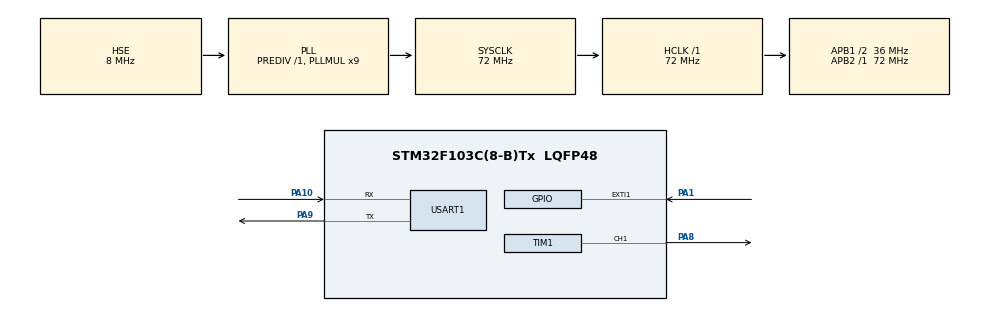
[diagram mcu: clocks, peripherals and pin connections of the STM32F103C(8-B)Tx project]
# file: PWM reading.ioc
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Mcu.Family=STM32F1
Mcu.Name=STM32F103C(8-B)Tx
Mcu.Package=LQFP48
NVIC.EXTI1_IRQn=true\:0\:0\:false\:false\:true\:true\:true\:true
NVIC.PriorityGroup=NVIC_PRIORITYGROUP_4
NVIC.TIM2_IRQn=true\:0\:0\:false\:false\:true\:true\:true\:true
PA1.GPIO_ModeDefaultEXTI=GPIO_MODE_IT_RISING_FALLING
PA1.GPIO_PuPd=GPIO_NOPULL
PA1.Signal=GPXTI1
PA10.Mode=Asynchronous
PA10.Signal=USART1_RX
PA8.Signal=S_TIM1_CH1
PA9.Mode=Asynchronous
PA9.Signal=USART1_TX
PD0-OSC_IN.Mode=HSE-External-Oscillator
PD0-OSC_IN.Signal=RCC_OSC_IN
PD1-OSC_OUT.Mode=HSE-External-Oscillator
PD1-OSC_OUT.Signal=RCC_OSC_OUT
ProjectManager.HeapSize=0x200
ProjectManager.StackSize=0x400
ProjectManager.TargetToolchain=STM32CubeIDE
RCC.AHBFreq_Value=72000000
RCC.APB1CLKDivider=RCC_HCLK_DIV2
RCC.APB1Freq_Value=36000000
RCC.APB1TimFreq_Value=72000000
RCC.APB2Freq_Value=72000000
RCC.APB2TimFreq_Value=72000000
RCC.HCLKFreq_Value=72000000
RCC.PLLMUL=RCC_PLL_MUL9
RCC.PLLSourceVirtual=RCC_PLLSOURCE_HSE
RCC.SYSCLKFreq_VALUE=72000000
RCC.SYSCLKSource=RCC_SYSCLKSOURCE_PLLCLK
RCC.USBFreq_Value=72000000
SH.S_TIM1_CH1.0=TIM1_CH1,PWM Generation1 CH1
TIM1.Channel-PWM\ Generation1\ CH1=TIM_CHANNEL_1
TIM1.Period=19999
TIM1.Prescaler=71
TIM2.Prescaler=71
USART1.VirtualMode=VM_ASYNC
VP_SYS_VS_ND.Mode=No_Debug
VP_TIM1_VS_ClockSourceINT.Mode=Internal
VP_TIM2_VS_ClockSourceINT.Mode=Internal
board=custom

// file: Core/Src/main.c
/* USER CODE BEGIN Header */
/**
  ******************************************************************************
  * @file           : main.c
  * @brief          : Main program body
  ******************************************************************************
  * @attention
  *
  * Copyright (c) 2025 STMicroelectronics.
  * All rights reserved.
  *
  * This software is licensed under terms that can be found in the LICENSE file
  * in the root directory of this software component.
  * If no LICENSE file comes with this software, it is provided AS-IS.
  *
  ******************************************************************************
  */
/* USER CODE END Header */
#include "main.h"
#include <stdio.h>

TIM_HandleTypeDef htim1;
TIM_HandleTypeDef htim2;

UART_HandleTypeDef huart1;

void SystemClock_Config(void);
static void MX_GPIO_Init(void);
static void MX_TIM1_Init(void);
static void MX_TIM2_Init(void);
static void MX_USART1_UART_Init(void);

int main(void)
{

  /* MCU Configuration--------------------------------------------------------*/

  /* Reset of all peripherals, Initializes the Flash interface and the Systick. */
  HAL_Init();

  /* Configure the system clock */
  SystemClock_Config();

  /* Initialize all configured peripherals */
  MX_GPIO_Init();
  MX_TIM1_Init();
  MX_TIM2_Init();
  MX_USART1_UART_Init();
  /* USER CODE BEGIN 2 */
  __HAL_TIM_SET_COMPARE(&htim1, TIM_CHANNEL_1, 2300);
  HAL_TIM_PWM_Start(&htim1, TIM_CHANNEL_1);
  HAL_TIM_IC_Start_IT(&htim2, TIM_CHANNEL_1);
  HAL_TIM_IC_Start_IT(&htim2, TIM_CHANNEL_2);
  /* USER CODE END 2 */

  /* Infinite loop */
  while (1)
  {

	  	}
  }

void SystemClock_Config(void)
{
  RCC_OscInitTypeDef RCC_OscInitStruct = {0};
  RCC_ClkInitTypeDef RCC_ClkInitStruct = {0};

  /** Initializes the RCC Oscillators according to the specified parameters
  * in the RCC_OscInitTypeDef structure.
  */
  RCC_OscInitStruct.OscillatorType = RCC_OSCILLATORTYPE_HSE;
  RCC_OscInitStruct.HSEState = RCC_HSE_ON;
  RCC_OscInitStruct.HSEPredivValue = RCC_HSE_PREDIV_DIV1;
  RCC_OscInitStruct.HSIState = RCC_HSI_ON;
  RCC_OscInitStruct.PLL.PLLState = RCC_PLL_ON;
  RCC_OscInitStruct.PLL.PLLSource = RCC_PLLSOURCE_HSE;
  RCC_OscInitStruct.PLL.PLLMUL = RCC_PLL_MUL9;
  if (HAL_RCC_OscConfig(&RCC_OscInitStruct) != HAL_OK)
  {
    Error_Handler();
  }

  /** Initializes the CPU, AHB and APB buses clocks
  */
  RCC_ClkInitStruct.ClockType = RCC_CLOCKTYPE_HCLK|RCC_CLOCKTYPE_SYSCLK
                              |RCC_CLOCKTYPE_PCLK1|RCC_CLOCKTYPE_PCLK2;
  RCC_ClkInitStruct.SYSCLKSource = RCC_SYSCLKSOURCE_PLLCLK;
  RCC_ClkInitStruct.AHBCLKDivider = RCC_SYSCLK_DIV1;
  RCC_ClkInitStruct.APB1CLKDivider = RCC_HCLK_DIV2;
  RCC_ClkInitStruct.APB2CLKDivider = RCC_HCLK_DIV1;

  if (HAL_RCC_ClockConfig(&RCC_ClkInitStruct, FLASH_LATENCY_2) != HAL_OK)
  {
    Error_Handler();
  }
}

static void MX_TIM1_Init(void)
{

  TIM_ClockConfigTypeDef sClockSourceConfig = {0};
  TIM_MasterConfigTypeDef sMasterConfig = {0};
  TIM_OC_InitTypeDef sConfigOC = {0};
  TIM_BreakDeadTimeConfigTypeDef sBreakDeadTimeConfig = {0};

  htim1.Instance = TIM1;
  htim1.Init.Prescaler = 71;
  htim1.Init.CounterMode = TIM_COUNTERMODE_UP;
  htim1.Init.Period = 19999;
  htim1.Init.ClockDivision = TIM_CLOCKDIVISION_DIV1;
  htim1.Init.RepetitionCounter = 0;
  htim1.Init.AutoReloadPreload = TIM_AUTORELOAD_PRELOAD_DISABLE;
  if (HAL_TIM_Base_Init(&htim1) != HAL_OK)
  {
    Error_Handler();
  }
  sClockSourceConfig.ClockSource = TIM_CLOCKSOURCE_INTERNAL;
  if (HAL_TIM_ConfigClockSource(&htim1, &sClockSourceConfig) != HAL_OK)
  {
    Error_Handler();
  }
  if (HAL_TIM_PWM_Init(&htim1) != HAL_OK)
  {
    Error_Handler();
  }
  sMasterConfig.MasterOutputTrigger = TIM_TRGO_RESET;
  sMasterConfig.MasterSlaveMode = TIM_MASTERSLAVEMODE_DISABLE;
  if (HAL_TIMEx_MasterConfigSynchronization(&htim1, &sMasterConfig) != HAL_OK)
  {
    Error_Handler();
  }
  sConfigOC.OCMode = TIM_OCMODE_PWM1;
  sConfigOC.Pulse = 0;
  sConfigOC.OCPolarity = TIM_OCPOLARITY_HIGH;
  sConfigOC.OCNPolarity = TIM_OCNPOLARITY_HIGH;
  sConfigOC.OCFastMode = TIM_OCFAST_DISABLE;
  sConfigOC.OCIdleState = TIM_OCIDLESTATE_RESET;
  sConfigOC.OCNIdleState = TIM_OCNIDLESTATE_RESET;
  if (HAL_TIM_PWM_ConfigChannel(&htim1, &sConfigOC, TIM_CHANNEL_1) != HAL_OK)
  {
    Error_Handler();
  }
  sBreakDeadTimeConfig.OffStateRunMode = TIM_OSSR_DISABLE;
  sBreakDeadTimeConfig.OffStateIDLEMode = TIM_OSSI_DISABLE;
  sBreakDeadTimeConfig.LockLevel = TIM_LOCKLEVEL_OFF;
  sBreakDeadTimeConfig.DeadTime = 0;
  sBreakDeadTimeConfig.BreakState = TIM_BREAK_DISABLE;
  sBreakDeadTimeConfig.BreakPolarity = TIM_BREAKPOLARITY_HIGH;
  sBreakDeadTimeConfig.AutomaticOutput = TIM_AUTOMATICOUTPUT_DISABLE;
  if (HAL_TIMEx_ConfigBreakDeadTime(&htim1, &sBreakDeadTimeConfig) != HAL_OK)
  {
    Error_Handler();
  }
  HAL_TIM_MspPostInit(&htim1);

}

static void MX_TIM2_Init(void)
{

  TIM_ClockConfigTypeDef sClockSourceConfig = {0};
  TIM_MasterConfigTypeDef sMasterConfig = {0};

  htim2.Instance = TIM2;
  htim2.Init.Prescaler = 71;
  htim2.Init.CounterMode = TIM_COUNTERMODE_UP;
  htim2.Init.Period = 65535;
  htim2.Init.ClockDivision = TIM_CLOCKDIVISION_DIV1;
  htim2.Init.AutoReloadPreload = TIM_AUTORELOAD_PRELOAD_DISABLE;
  if (HAL_TIM_Base_Init(&htim2) != HAL_OK)
  {
    Error_Handler();
  }
  sClockSourceConfig.ClockSource = TIM_CLOCKSOURCE_INTERNAL;
  if (HAL_TIM_ConfigClockSource(&htim2, &sClockSourceConfig) != HAL_OK)
  {
    Error_Handler();
  }
  sMasterConfig.MasterOutputTrigger = TIM_TRGO_RESET;
  sMasterConfig.MasterSlaveMode = TIM_MASTERSLAVEMODE_DISABLE;
  if (HAL_TIMEx_MasterConfigSynchronization(&htim2, &sMasterConfig) != HAL_OK)
  {
    Error_Handler();
  }

}

static void MX_USART1_UART_Init(void)
{

  huart1.Instance = USART1;
  huart1.Init.BaudRate = 115200;
  huart1.Init.WordLength = UART_WORDLENGTH_8B;
  huart1.Init.StopBits = UART_STOPBITS_1;
  huart1.Init.Parity = UART_PARITY_NONE;
  huart1.Init.Mode = UART_MODE_TX_RX;
  huart1.Init.HwFlowCtl = UART_HWCONTROL_NONE;
  huart1.Init.OverSampling = UART_OVERSAMPLING_16;
  if (HAL_UART_Init(&huart1) != HAL_OK)
  {
    Error_Handler();
  }

}

static void MX_GPIO_Init(void)
{
  GPIO_InitTypeDef GPIO_InitStruct = {0};

  /* GPIO Ports Clock Enable */
  __HAL_RCC_GPIOD_CLK_ENABLE();
  __HAL_RCC_GPIOA_CLK_ENABLE();

  /*Configure GPIO pin : PA1 */
  GPIO_InitStruct.Pin = GPIO_PIN_1;
  GPIO_InitStruct.Mode = GPIO_MODE_IT_RISING_FALLING;
  GPIO_InitStruct.Pull = GPIO_NOPULL;
  HAL_GPIO_Init(GPIOA, &GPIO_InitStruct);

  /* EXTI interrupt init*/
  HAL_NVIC_SetPriority(EXTI1_IRQn, 0, 0);
  HAL_NVIC_EnableIRQ(EXTI1_IRQn);

}

/* USER CODE BEGIN 4 */
//uint32_t period = 0;
//uint32_t pulse = 0;
//float duty_cycle;
//float freq;
//
//void HAL_TIM_IC_CaptureCallback(TIM_HandleTypeDef *htim)
//{
//    if(htim->Instance == TIM2)
//    {
//        period = HAL_TIM_ReadCapturedValue(htim, TIM_CHANNEL_1);
//        pulse = HAL_TIM_ReadCapturedValue(htim, TIM_CHANNEL_2);
//
//        duty_cycle = ((float)pulse / (float)period) * 100.0f;
//        freq = 1.0f / ((float)period * 0.000001f);
//
//        char buffer[50];
//        int size = sprintf(buffer, "Theduty cycle is : %.2f%%, and freqis : %.2f Hz\r\n", duty_cycle, freq);
//        HAL_UART_Transmit(&huart1, (uint8_t*)buffer, size, HAL_MAX_DELAY);
//
//    }
//}
uint32_t rising1 = 0;
uint32_t falling = 0;
uint32_t rising2 = 0;
uint32_t on_time = 0;
uint32_t period = 0;
uint32_t first_rising_detected = 0;
uint8_t duty_ready = 0;
float duty_cycle=0;

void HAL_GPIO_EXTI_Callback(uint16_t GPIO_Pin) {
	if(GPIO_Pin == GPIO_PIN_1){
		uint32_t now = __HAL_TIM_GET_COUNTER(&htim2);
		if((HAL_GPIO_ReadPin(GPIOA, GPIO_PIN_1)) == GPIO_PIN_SET){
			if(!first_rising_detected) {
				rising1 = now;
				first_rising_detected = 1;
			}
			else {
				rising2 = now;
				period = (rising2 >= rising1) ? (rising2 - rising1) : (65536 + rising2 - rising1);
				rising1 = rising2;
			}
		}
		else{
			falling = now;
			on_time = (falling >= rising1) ? (falling - rising1) : (65536 + falling - rising1);
		}
		if(period > 0 && on_time > 0){
			duty_cycle = ((float)on_time / (float)period) * 100.0f;
			duty_ready = 1;
		}

		if(duty_ready){
			char buffer[50];
			int size = sprintf(buffer, " duty cycle is : %.2f%%\r\n", duty_cycle);
			HAL_UART_Transmit(&huart1, (uint8_t*)buffer, size, HAL_MAX_DELAY);
			duty_ready = 0;
		}

}
}
// ملاحظة
// duty ready flag is important if PWM value changes

/* USER CODE END 4 */

void Error_Handler(void)
{
  __disable_irq();
  while (1)
  {
  }
}
